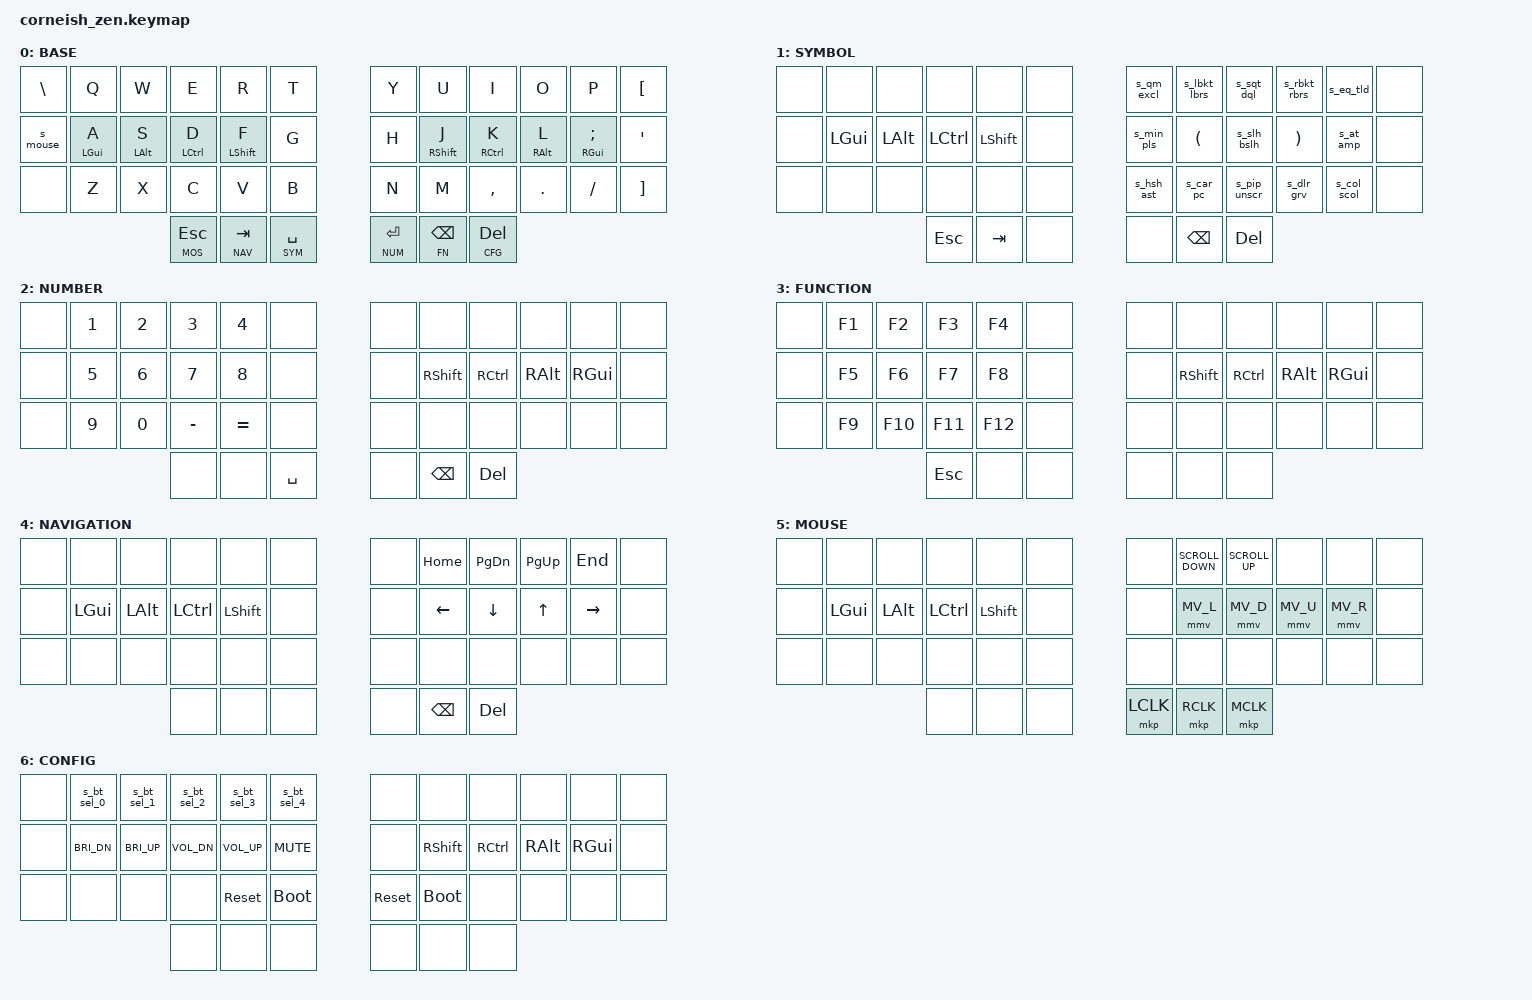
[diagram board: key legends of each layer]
#include <behaviors.dtsi>
#include <dt-bindings/zmk/keys.h>
#include <dt-bindings/zmk/bt.h>

#include "../zmk-nodefree-config/helper.h"
#include "../zmk-nodefree-config/keypos_def/keypos_42keys.h"
#include "../helper/macro.h"

#include "mouse.dtsi"

#define QUICK_TAP_MS 175

// left-hand keys
#define KEYS_L \
     LT5 LT4 LT3 LT2 LT1 LT0 \
     LM5 LM4 LM3 LM2 LM1 LM0 \
     LB5 LB4 LB3 LB2 LB1 LB0
/* ╰───────────╮ LH2 LH1 LH0 │
               ╰─────────────╯ */

// right-hand keys
#define KEYS_R \
     RT0 RT1 RT2 RT3 RT4 RT5 \
     RM0 RM1 RM2 RM3 RM4 RM5 \
     RB0 RB1 RB2 RB3 RB4 RB5
/* │ RH0 RH1 RH2 ╭───────────╯
   ╰─────────────╯ */

// thumb keys
#define THUMBS LH2 LH1 LH0 RH0 RH1 RH2

#define _v_ &trans
#define ___ &none

#define SC SEMICOLON

/* layer names */
#define BAS 0
#define SYM 1
#define NUM 2
#define FN 3
#define NAV 4
#define MOS 5
#define CFG 6

// layer-tap config
&lt {
    flavor = "balanced";
    tapping-term-ms = <200>;
    quick-tap-ms = <QUICK_TAP_MS>;
};


// shift macros for BT contorols
SHIFT_MACRO(s_bt_sel_0, &bt BT_SEL 0, &bt BT_SEL 0 &bt BT_CLR)
SHIFT_MACRO(s_bt_sel_1, &bt BT_SEL 1, &bt BT_SEL 1 &bt BT_CLR)
SHIFT_MACRO(s_bt_sel_2, &bt BT_SEL 2, &bt BT_SEL 2 &bt BT_CLR)
SHIFT_MACRO(s_bt_sel_3, &bt BT_SEL 3, &bt BT_SEL 3 &bt BT_CLR)
SHIFT_MACRO(s_bt_sel_4, &bt BT_SEL 4, &bt BT_SEL 4 &bt BT_CLR)

// shift macros for sym layer
SHIFT_FUNCTION(s_qm_excl, &kp QMARK, &kp EXCL)
SHIFT_FUNCTION(s_min_pls, &kp KP_MINUS, &kp KP_PLUS)
SHIFT_FUNCTION(s_hsh_ast, &kp HASH, &kp KP_ASTERISK)
SHIFT_FUNCTION(s_lbkt_lbrs, &kp LEFT_BRACKET, &kp LEFT_BRACE)
SHIFT_FUNCTION(s_lpar_lt, &kp KP_LEFT_PARENTHESIS, &kp LESS_THAN)
SHIFT_FUNCTION(s_car_pc, &kp CARET, &kp PERCENT)
SHIFT_FUNCTION(s_sqt_dql, &kp SINGLE_QUOTE, &kp DOUBLE_QUOTES)
SHIFT_FUNCTION(s_slh_bslh, &kp KP_SLASH, &kp BACKSLASH)
SHIFT_FUNCTION(s_pip_unscr, &kp PIPE, &kp UNDERSCORE)
SHIFT_FUNCTION(s_rpar_gt, &kp KP_RIGHT_PARENTHESIS, &kp GREATER_THAN)  
SHIFT_FUNCTION(s_rbkt_rbrs, &kp RIGHT_BRACKET, &kp RIGHT_BRACE)
SHIFT_FUNCTION(s_dlr_grv, &kp DOLLAR, &kp GRAVE)
SHIFT_FUNCTION(s_eq_tld, &kp KP_EQUAL, &kp TILDE)
SHIFT_FUNCTION(s_at_amp, &kp AT_SIGN, &kp AMPERSAND)
SHIFT_FUNCTION(s_col_scol, &kp COLON, &kp SEMICOLON)

/* smart mouse */
ZMK_BEHAVIOR(s_mouse, tri_state,
    bindings = <&tog MOS>, <&none>, <&tog MOS>;
    ignored-key-positions = <                  RT0 RT1 RT2 RT3 
                             LM4 LM3 LM2 LM1   RM0 RM1 RM2 RM3 
                                               RH0 RH1 RH2>;
    ignored-layers = <MOS>;
)

/* left-hand HRMs */
ZMK_BEHAVIOR(hml, hold_tap,
    flavor = "balanced";
    tapping-term-ms = <5000>;
    quick-tap-ms = <QUICK_TAP_MS>;
    require-prior-idle-ms = <260>;
    bindings = <&kp>, <&kp>;
    hold-trigger-on-release;
    hold-trigger-key-positions = <KEYS_R THUMBS>;
)

/* right-hand HRMs */
ZMK_BEHAVIOR(hmr, hold_tap,
    flavor = "balanced";
    tapping-term-ms = <5000>;
    quick-tap-ms = <QUICK_TAP_MS>;
    require-prior-idle-ms = <260>;
    bindings = <&kp>, <&kp>;
    hold-trigger-on-release;
    hold-trigger-key-positions = <KEYS_L THUMBS>;
)

ZMK_LAYER(BASE,
//╭.............┬─────────────┬─────────────┬─────────────┬─────────────┬─────────────╮ ╭─────────────┬─────────────┬─────────────┬─────────────┬─────────────┬.............╮
    &kp BSLH      &kp Q         &kp W         &kp E         &kp R         &kp T           &kp Y         &kp U         &kp I         &kp O         &kp P         &kp LBKT
//├.............┼─────────────┼─────────────┼─────────────┼─────────────┼─────────────┤ ├─────────────┼─────────────┼─────────────┼─────────────┼─────────────┼.............┤
    &s_mouse      &hml LGUI A   &hml LALT S   &hml LCTRL D  &hml LSHFT F  &kp G           &kp H         &hmr RSHFT J  &hmr RCTRL K  &hmr RALT L   &hmr RGUI SC  &kp SQT
//├.............┼─────────────┼─────────────┼─────────────┼─────────────┼─────────────┤ ├─────────────┼─────────────┼─────────────┼─────────────┼─────────────┼.............┤
    ___           &kp Z         &kp X         &kp C         &kp V         &kp B           &kp N         &kp M         &kp COMMA     &kp DOT       &kp FSLH      &kp RBKT
//╰.............┼─────────────┴─────────────┼─────────────┼─────────────┼─────────────┤ ├─────────────┼─────────────┼─────────────┴─────────────┴─────────────┴.............╯
                                              &lt MOS ESC   &lt NAV TAB   &lt SYM SPACE   &lt NUM RET   &lt FN BSPC   &lt CFG DEL
//                                          ╰─────────────┴─────────────┴─────────────╯ ╰─────────────┴─────────────┴─────────────╯
)

ZMK_LAYER(SYMBOL,
//╭.............┬─────────────┬─────────────┬─────────────┬─────────────┬─────────────╮ ╭─────────────┬─────────────┬─────────────┬─────────────┬─────────────┬.............╮
    ___           ___           ___           ___           ___           ___             &s_qm_excl    &s_lbkt_lbrs  &s_sqt_dql    &s_rbkt_rbrs  &s_eq_tld     ___
//├.............┼─────────────┼─────────────┼─────────────┼─────────────┼─────────────┤ ├─────────────┼─────────────┼─────────────┼─────────────┼─────────────┼.............┤
    ___           &kp LGUI      &kp LALT      &kp LCTRL     &kp LSHFT     ___             &s_min_pls    &kp LPAR      &s_slh_bslh   &kp RPAR      &s_at_amp     ___
//├.............┼─────────────┼─────────────┼─────────────┼─────────────┼─────────────┤ ├─────────────┼─────────────┼─────────────┼─────────────┼─────────────┼.............┤
    ___           ___           ___           ___           ___           ___             &s_hsh_ast    &s_car_pc     &s_pip_unscr  &s_dlr_grv    &s_col_scol   ___
//╰.............┼─────────────┴─────────────┼─────────────┼─────────────┼─────────────┤ ├─────────────┼─────────────┼─────────────┴─────────────┴─────────────┴.............╯
                                              &kp ESC       &kp TAB       ___             ___           &kp BSPC      &kp DEL
//                                          ╰─────────────┴─────────────┴─────────────╯ ╰─────────────┴─────────────┴─────────────╯
)

ZMK_LAYER(NUMBER,
//╭.............┬─────────────┬─────────────┬─────────────┬─────────────┬─────────────╮ ╭─────────────┬─────────────┬─────────────┬─────────────┬─────────────┬.............╮
    ___           &kp N1        &kp N2        &kp N3        &kp N4        ___             ___           ___           ___           ___           ___           ___
//├.............┼─────────────┼─────────────┼─────────────┼─────────────┼─────────────┤ ├─────────────┼─────────────┼─────────────┼─────────────┼─────────────┼.............┤
    ___           &kp N5        &kp N6        &kp N7        &kp N8        ___             ___           &kp RSHFT     &kp RCTRL     &kp RALT      &kp RGUI      ___
//├.............┼─────────────┼─────────────┼─────────────┼─────────────┼─────────────┤ ├─────────────┼─────────────┼─────────────┼─────────────┼─────────────┼.............┤
    ___           &kp N9        &kp N0        &kp MINUS     &kp EQUAL     ___             ___           ___           ___           ___           ___           ___
//╰.............┼─────────────┴─────────────┼─────────────┼─────────────┼─────────────┤ ├─────────────┼─────────────┼─────────────┴─────────────┴─────────────┴.............╯
                                              ___           ___           &kp SPACE       ___           &kp BSPC      &kp DEL
//                                          ╰─────────────┴─────────────┴─────────────╯ ╰─────────────┴─────────────┴─────────────╯
)


ZMK_LAYER(FUNCTION,
//╭.............┬─────────────┬─────────────┬─────────────┬─────────────┬─────────────╮ ╭─────────────┬─────────────┬─────────────┬─────────────┬─────────────┬.............╮
    ___           &kp F1        &kp F2        &kp F3        &kp F4        ___             ___           ___           ___           ___           ___           ___
//├.............┼─────────────┼─────────────┼─────────────┼─────────────┼─────────────┤ ├─────────────┼─────────────┼─────────────┼─────────────┼─────────────┼.............┤
    ___           &kp F5        &kp F6        &kp F7        &kp F8        ___             ___           &kp RSHFT     &kp RCTRL     &kp RALT      &kp RGUI      ___
//├.............┼─────────────┼─────────────┼─────────────┼─────────────┼─────────────┤ ├─────────────┼─────────────┼─────────────┼─────────────┼─────────────┼.............┤
    ___           &kp F9        &kp F10       &kp F11       &kp F12       ___             ___           ___           ___           ___           ___           ___
//╰.............┼─────────────┴─────────────┼─────────────┼─────────────┼─────────────┤ ├─────────────┼─────────────┼─────────────┴─────────────┴─────────────┴.............╯
                                              &kp ESC       ___           ___             ___           ___           ___
//                                          ╰─────────────┴─────────────┴─────────────╯ ╰─────────────┴─────────────┴─────────────╯
)

ZMK_LAYER(NAVIGATION,
 //╭............─┬─────────────┬─────────────┬─────────────┬─────────────┬─────────────╮ ╭─────────────┬─────────────┬─────────────┬─────────────┬─────────────┬.............╮
     ___           ___           ___           ___           ___           ___             ___           &kp HOME      &kp PG_DN     &kp PG_UP     &kp END       ___
 //├.............┼─────────────┼─────────────┼─────────────┼─────────────┼─────────────┤ ├─────────────┼─────────────┼─────────────┼─────────────┼─────────────┼.............┤
     ___           &kp LGUI     &kp LALT      &kp LCTRL      &kp LSHFT     ___             ___           &kp LEFT      &kp DOWN      &kp UP        &kp RIGHT     ___
 //├.............┼─────────────┼─────────────┼─────────────┼─────────────┼─────────────┤ ├─────────────┼─────────────┼─────────────┼─────────────┼─────────────┼.............┤
     ___           ___           ___           ___           ___           ___             ___           ___           ___           ___           ___           ___
 //╰.............┼─────────────┴─────────────┼─────────────┼─────────────┼─────────────┤ ├─────────────┼─────────────┼─────────────┴─────────────┴─────────────┴.............╯
                                               ___           ___           ___             ___           &kp BSPC      &kp DEL
 //                                          ╰─────────────┴─────────────┴─────────────╯ ╰─────────────┴─────────────┴─────────────╯
)

ZMK_LAYER(MOUSE,
 //╭.............┬─────────────┬─────────────┬─────────────┬─────────────┬─────────────╮ ╭─────────────┬─────────────┬─────────────┬─────────────┬─────────────┬.............╮
     ___           ___           ___           ___           ___           ___             ___          &kp K_SCROLL_DOWN &kp K_SCROLL_UP   ___          ___           ___
 //├.............┼─────────────┼─────────────┼─────────────┼─────────────┼─────────────┤ ├─────────────┼─────────────┼─────────────┼─────────────┼─────────────┼.............┤
     ___           &kp LGUI     &kp LALT      &kp LCTRL      &kp LSHFT     ___             ___           &mmv MV_L     &mmv MV_D     &mmv MV_U     &mmv MV_R     ___
 //├.............┼─────────────┼─────────────┼─────────────┼─────────────┼─────────────┤ ├─────────────┼─────────────┼─────────────┼─────────────┼─────────────┼.............┤
     ___           ___           ___           ___           ___           ___             ___           ___           ___           ___           ___           ___
 //╰.............┼─────────────┴─────────────┼─────────────┼─────────────┼─────────────┤ ├─────────────┼─────────────┼─────────────┴─────────────┴─────────────┴.............╯
                                               ___           ___           ___             &mkp LCLK     &mkp RCLK     &mkp MCLK
 //                                          ╰─────────────┴─────────────┴─────────────╯ ╰─────────────┴─────────────┴─────────────╯
)

ZMK_LAYER(CONFIG,
 //╭.............┬─────────────┬─────────────┬─────────────┬─────────────┬─────────────╮ ╭─────────────┬─────────────┬─────────────┬─────────────┬─────────────┬.............╮
     ___           &s_bt_sel_0   &s_bt_sel_1   &s_bt_sel_2   &s_bt_sel_3   &s_bt_sel_4     ___           ___           ___           ___           ___           ___
 //├.............┼─────────────┼─────────────┼─────────────┼─────────────┼─────────────┤ ├─────────────┼─────────────┼─────────────┼─────────────┼─────────────┼.............┤
     ___           &kp C_BRI_DN  &kp C_BRI_UP  &kp C_VOL_DN  &kp C_VOL_UP  &kp C_MUTE      ___           &kp RSHFT     &kp RCTRL     &kp RALT      &kp RGUI      ___
 //├.............┼─────────────┼─────────────┼─────────────┼─────────────┼─────────────┤ ├─────────────┼─────────────┼─────────────┼─────────────┼─────────────┼.............┤
     ___           ___           ___           ___           &sys_reset    &bootloader     &sys_reset    &bootloader   ___           ___           ___           ___
 //╰.............┼─────────────┴─────────────┼─────────────┼─────────────┼─────────────┤ ├─────────────┼─────────────┼─────────────┴─────────────┴─────────────┴.............╯
                                               ___           ___           ___             ___           ___           ___
 //                                          ╰─────────────┴─────────────┴─────────────╯ ╰─────────────┴─────────────┴─────────────╯
)
 
